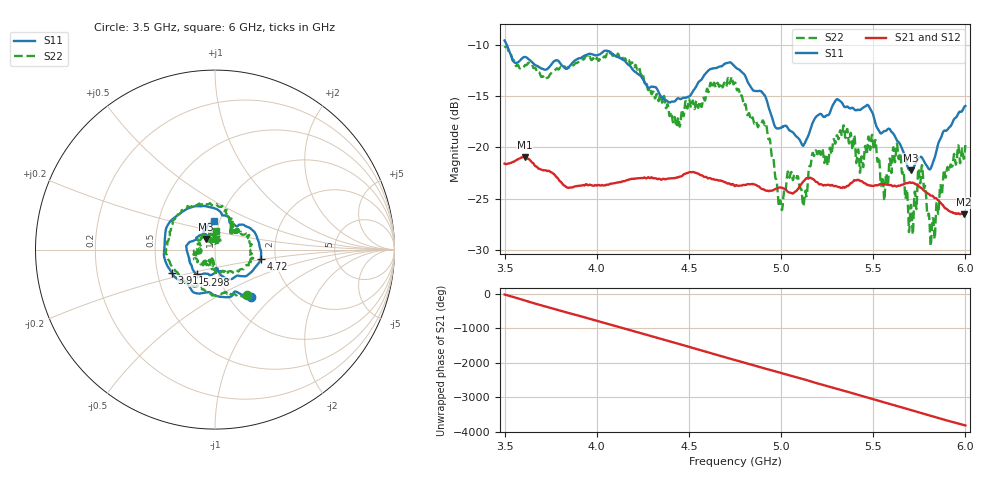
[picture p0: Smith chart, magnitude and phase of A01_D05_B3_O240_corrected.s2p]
! Created with skrf 1.9.0 (http://scikit-rf.org).
# Hz S RI R 50.0
!freq ReS11 ImS11 ReS21 ImS21 ReS12 ImS12 ReS22 ImS22
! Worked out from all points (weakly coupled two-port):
!   1601 points, 3.5 GHz to 6 GHz, reference 50 ohm
!   highest |S21| = -20.94 dB at 3.609 GHz (marker M1); lowest = -26.5 dB at 5.994 GHz (marker M2)
!   lowest |S11| = -22.2 dB at 5.706 GHz (marker M3), VSWR 1.17, Z = 45 + j5.34 ohm
!   |S11| at or under -10 dB: 3.512 GHz to end of sweep
!   |S22| runs from -29.6 to -10.1 dB; largest |S21 - S12| = 0.001
!   S11 on the Smith chart (normalised r, x): 3.5 GHz: 1.26, -0.75; 3.911 GHz: 0.60, -0.17; 4.72 GHz: 1.67, -0.18; 5.298 GHz: 0.79, -0.23; 6 GHz: 0.94, +0.31
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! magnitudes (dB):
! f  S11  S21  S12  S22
! 3.5 GHz  -9.6  -21.6  -21.6  -10.1
! 3.609 GHz  -11.2  -20.9  -20.9  -12.0
! 3.911 GHz  -11.3  -23.7  -23.7  -11.6
! 3.917 GHz  -11.2  -23.7  -23.7  -11.4
! 4.334 GHz  -14.6  -23.1  -23.0  -15.5
! 4.441 GHz  -15.2  -22.9  -22.9  -17.1
! 4.72 GHz  -11.7  -23.5  -23.6  -13.8
! 4.75 GHz  -12.1  -23.8  -23.7  -13.7
! 4.912 GHz  -15.0  -24.2  -24.2  -17.8
! 4.997 GHz  -18.1  -23.9  -23.9  -25.2
! 5.047 GHz  -18.4  -24.4  -24.4  -22.9
! 5.128 GHz  -19.6  -23.2  -23.2  -24.8
! 5.167 GHz  -17.8  -23.1  -23.0  -20.8
! 5.298 GHz  -15.4  -23.8  -23.7  -19.2
! 5.584 GHz  -18.2  -23.7  -23.7  -22.1
! 5.638 GHz  -19.5  -23.7  -23.7  -21.1
! 5.706 GHz  -22.2  -23.5  -23.4  -25.8
! 5.756 GHz  -20.9  -23.9  -23.9  -23.4
! 5.822 GHz  -21.6  -24.7  -24.7  -26.9
! 5.892 GHz  -18.4  -26.0  -25.9  -23.0
! 5.994 GHz  -16.0  -26.5  -26.5  -21.0
! 6 GHz  -15.9  -26.5  -26.5  -19.8
